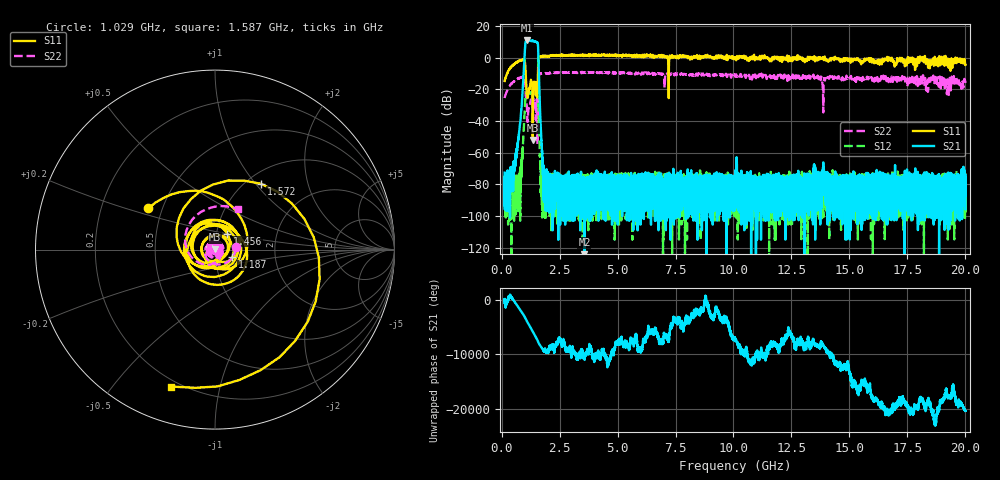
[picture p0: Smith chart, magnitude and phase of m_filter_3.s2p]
!Created with skrf (http://scikit-rf.org).
# GHz S RI R 50.0
!freq ReS11 ImS11 ReS21 ImS21 ReS12 ImS12 ReS22 ImS22
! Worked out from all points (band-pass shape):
!   20013 points, 130 MHz to 20 GHz, reference 50 ohm
!   highest |S21| = 10.85 dB at 1.078 GHz (marker M1); lowest = -178.5 dB at 3.573 GHz (marker M2)
!   |S21| within 3 dB of the highest: 1.018 GHz to 1.569 GHz (551 MHz wide, 42.6 % of centre)
!   lowest |S11| = -52.1 dB at 1.347 GHz (marker M3), VSWR 1.01, Z = 50 + j0.249 ohm
!   |S11| at or under -10 dB: start of sweep to 239.7 MHz; 1.037 GHz to 1.567 GHz (530 MHz wide, 40.7 % of centre); 7.202766 GHz to 7.210737 GHz (7.97 MHz wide, 0.111 % of centre) (the widest 3 of 4)
!   |S22| runs from -54.7 to -9.0 dB; largest |S21 - S12| = 3.5
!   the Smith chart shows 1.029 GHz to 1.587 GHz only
!   S11 on the Smith chart (normalised r, x): 1.029 GHz: 0.42, +0.24; 1.187 GHz: 1.21, -0.10; 1.456 GHz: 1.13, +0.20; 1.572 GHz: 1.16, +1.07; 1.587 GHz: 0.17, -0.72
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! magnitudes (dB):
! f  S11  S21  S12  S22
! 130 MHz  -14.7  -72.7  -75.5  -25.5
! 461 MHz  -5.1  -74.2  -77.7  -16.0
! 750 MHz  -2.1  -47.9  -75.2  -13.1
! 857 MHz  -1.7  -32.6  -67.8  -12.5
! 1.029 GHz  -7.2  9.4  -25.8  -18.5
! 1.078 GHz  -22.3  10.9  -23.8  -29.6
! 1.187 GHz  -19.5  10.6  -22.9  -31.3
! 1.347 GHz  -52.1  10.6  -21.8  -35.1
! 1.456 GHz  -19.0  10.2  -21.5  -33.4
! 1.512 GHz  -15.9  9.7  -21.5  -26.5
! 1.572 GHz  -7.0  7.3  -23.7  -16.6
! 1.587 GHz  -1.9  0.4  -30.3  -11.7
! 1.729 GHz  0.9  -55.0  -83.1  -10.0
! 1.803 GHz  0.7  -71.4  -81.3  -10.0
! 1.881 GHz  1.0  -75.0  -88.8  -10.1
! 3.442 GHz  1.2  -80.7  -81.6  -9.8
! 3.573 GHz  1.8  -178.5  -87.4  -9.5
! 6.754 GHz  1.3  -74.6  -78.2  -9.9
! 10.06 GHz  0.1  -91.9  -76.1  -11.8
! 13.38 GHz  -0.4  -90.9  -79.0  -12.2
! 16.69 GHz  -0.1  -86.6  -85.0  -15.5
! 20 GHz  -4.7  -76.2  -79.6  -16.1
